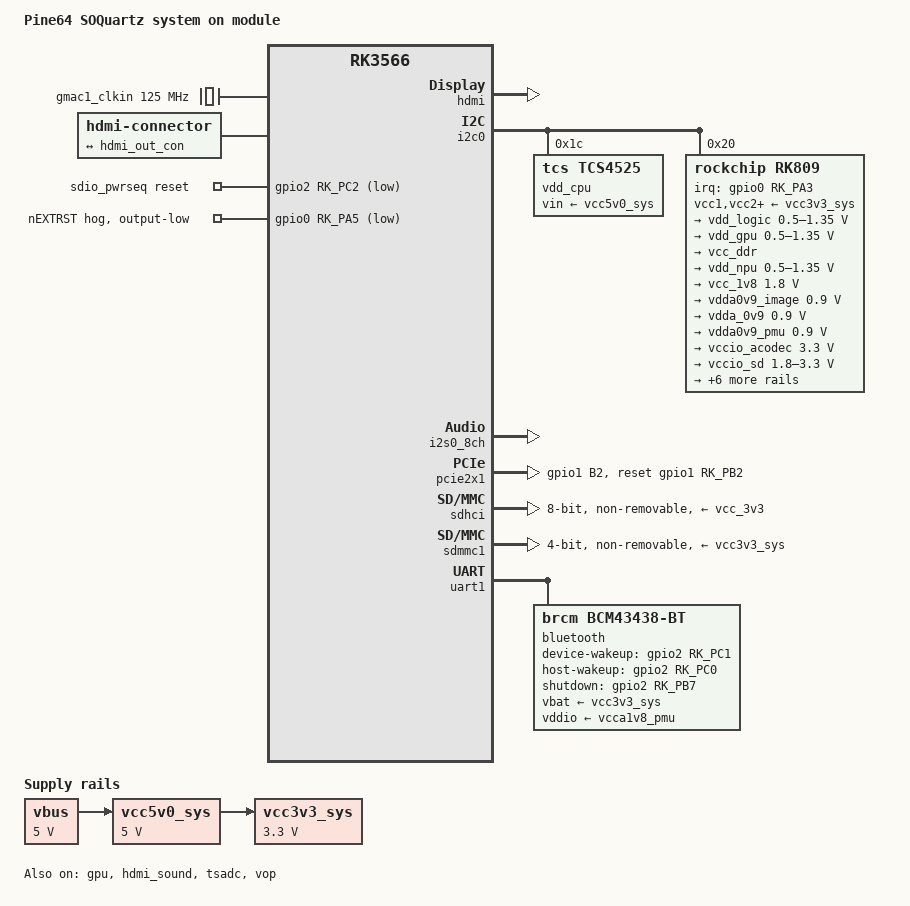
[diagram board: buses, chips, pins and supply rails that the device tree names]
// SPDX-License-Identifier: (GPL-2.0+ OR MIT)

/dts-v1/;

#include <dt-bindings/gpio/gpio.h>
#include <dt-bindings/pinctrl/rockchip.h>
#include <dt-bindings/soc/rockchip,vop2.h>
#include "rk3566.dtsi"

/ {
	model = "Pine64 SOQuartz system on module";
	compatible = "pine64,soquartz", "rockchip,rk3566";

	aliases {
		mmc0 = &sdmmc0;
		mmc1 = &sdhci;
		mmc2 = &sdmmc1;
	};

	chosen: chosen {
		stdout-path = "serial2:1500000n8";
	};

	gmac1_clkin: external-gmac1-clock {
		compatible = "fixed-clock";
		clock-frequency = <125000000>;
		clock-output-names = "gmac1_clkin";
		#clock-cells = <0>;
	};

	hdmi-con {
		compatible = "hdmi-connector";
		type = "a";

		port {
			hdmi_con_in: endpoint {
				remote-endpoint = <&hdmi_out_con>;
			};
		};
	};

	leds {
		compatible = "gpio-leds";

		led_diy: led-diy {
			label = "diy-led";
			default-state = "on";
			gpios = <&gpio0 RK_PC1 GPIO_ACTIVE_LOW>;
			linux,default-trigger = "heartbeat";
			pinctrl-names = "default";
			pinctrl-0 = <&diy_led_enable_h>;
			retain-state-suspended;
			status = "disabled";
		};

		led_work: led-work {
			label = "work-led";
			default-state = "off";
			gpios = <&gpio0 RK_PC0 GPIO_ACTIVE_LOW>;
			pinctrl-names = "default";
			pinctrl-0 = <&work_led_enable_h>;
			retain-state-suspended;
			status = "disabled";
		};
	};

	sdio_pwrseq: sdio-pwrseq {
		status = "okay";
		compatible = "mmc-pwrseq-simple";
		clocks = <&rk809 1>;
		clock-names = "ext_clock";
		pinctrl-names = "default";
		pinctrl-0 = <&wifi_enable_h>;
		reset-gpios = <&gpio2 RK_PC2 GPIO_ACTIVE_LOW>;
	};

	vbus: regulator-vbus {
		compatible = "regulator-fixed";
		regulator-name = "vbus";
		regulator-always-on;
		regulator-boot-on;
		regulator-min-microvolt = <5000000>;
		regulator-max-microvolt = <5000000>;
	};

	/* sourced from vbus, vbus is provided by the carrier board */
	vcc5v0_sys: regulator-vcc5v0-sys {
		compatible = "regulator-fixed";
		regulator-name = "vcc5v0_sys";
		regulator-always-on;
		regulator-boot-on;
		regulator-min-microvolt = <5000000>;
		regulator-max-microvolt = <5000000>;
		vin-supply = <&vbus>;
	};

	vcc3v3_sys: regulator-vcc3v3-sys {
		compatible = "regulator-fixed";
		regulator-name = "vcc3v3_sys";
		regulator-always-on;
		regulator-boot-on;
		regulator-min-microvolt = <3300000>;
		regulator-max-microvolt = <3300000>;
		vin-supply = <&vcc5v0_sys>;
	};
};

&cpu0 {
	cpu-supply = <&vdd_cpu>;
};

&cpu1 {
	cpu-supply = <&vdd_cpu>;
};

&cpu2 {
	cpu-supply = <&vdd_cpu>;
};

&cpu3 {
	cpu-supply = <&vdd_cpu>;
};

&gmac1 {
	assigned-clocks = <&cru SCLK_GMAC1_RX_TX>, <&cru SCLK_GMAC1_RGMII_SPEED>, <&cru SCLK_GMAC1>;
	assigned-clock-parents = <&cru SCLK_GMAC1_RGMII_SPEED>, <&cru SCLK_GMAC1>, <&gmac1_clkin>;
	clock_in_out = "input";
	phy-supply = <&vcc_3v3>;
	phy-mode = "rgmii";
	pinctrl-names = "default";
	pinctrl-0 = <&gmac1m0_miim
		     &gmac1m0_tx_bus2
		     &gmac1m0_rx_bus2
		     &gmac1m0_rgmii_clk
		     &gmac1m0_clkinout
		     &gmac1m0_rgmii_bus>;
	snps,reset-gpio = <&gpio0 RK_PC3 GPIO_ACTIVE_LOW>;
	snps,reset-active-low;
	/* Reset time is 20ms, 100ms for rtl8211f, also works well here */
	snps,reset-delays-us = <0 20000 100000>;
	tx_delay = <0x30>;
	rx_delay = <0x10>;
	phy-handle = <&rgmii_phy1>;
	status = "disabled";
};

&gpio0 {
	nextrst-hog {
		gpio-hog;
		/*
		 * GPIO_ACTIVE_LOW + output-low here means that the pin is set
		 * to high, because output-low decides the value pre-inversion.
		 */
		gpios = <RK_PA5 GPIO_ACTIVE_LOW>;
		line-name = "nEXTRST";
		output-low;
	};
};

&gpu {
	mali-supply = <&vdd_gpu>;
	status = "okay";
};

&hdmi {
	avdd-0v9-supply = <&vdda0v9_image>;
	avdd-1v8-supply = <&vcca1v8_image>;
	status = "okay";
};

&hdmi_in {
	hdmi_in_vp0: endpoint {
		remote-endpoint = <&vp0_out_hdmi>;
	};
};

&hdmi_out {
	hdmi_out_con: endpoint {
		remote-endpoint = <&hdmi_con_in>;
	};
};

&hdmi_sound {
	status = "okay";
};

&i2c0 {
	status = "okay";

	vdd_cpu: regulator@1c {
		compatible = "tcs,tcs4525";
		reg = <0x1c>;
		fcs,suspend-voltage-selector = <1>;
		regulator-name = "vdd_cpu";
		regulator-min-microvolt = <800000>;
		regulator-max-microvolt = <1150000>;
		regulator-ramp-delay = <2300>;
		regulator-always-on;
		regulator-boot-on;
		vin-supply = <&vcc5v0_sys>;

		regulator-state-mem {
			regulator-off-in-suspend;
		};
	};

	rk809: pmic@20 {
		compatible = "rockchip,rk809";
		reg = <0x20>;
		interrupt-parent = <&gpio0>;
		interrupts = <RK_PA3 IRQ_TYPE_LEVEL_LOW>;
		#clock-cells = <1>;
		clock-output-names = "rk808-clkout1", "rk808-clkout2";
		pinctrl-names = "default";
		pinctrl-0 = <&pmic_int_l>;
		system-power-controller;
		wakeup-source;

		vcc1-supply = <&vcc3v3_sys>;
		vcc2-supply = <&vcc3v3_sys>;
		vcc3-supply = <&vcc3v3_sys>;
		vcc4-supply = <&vcc3v3_sys>;
		vcc5-supply = <&vcc3v3_sys>;
		vcc6-supply = <&vcc3v3_sys>;
		vcc7-supply = <&vcc3v3_sys>;
		vcc8-supply = <&vcc3v3_sys>;
		vcc9-supply = <&vcc3v3_sys>;

		regulators {
			vdd_logic: DCDC_REG1 {
				regulator-name = "vdd_logic";
				regulator-always-on;
				regulator-boot-on;
				regulator-min-microvolt = <500000>;
				regulator-max-microvolt = <1350000>;
				regulator-ramp-delay = <6001>;
				regulator-initial-mode = <0x2>;
				regulator-state-mem {
					regulator-on-in-suspend;
					regulator-suspend-microvolt = <900000>;
				};
			};

			vdd_gpu: DCDC_REG2 {
				regulator-name = "vdd_gpu";
				regulator-always-on;
				regulator-boot-on;
				regulator-min-microvolt = <500000>;
				regulator-max-microvolt = <1350000>;
				regulator-ramp-delay = <6001>;
				regulator-initial-mode = <0x2>;
					regulator-state-mem {
					regulator-off-in-suspend;
				};
			};

			vcc_ddr: DCDC_REG3 {
				regulator-always-on;
				regulator-boot-on;
				regulator-initial-mode = <0x2>;
				regulator-name = "vcc_ddr";
				regulator-state-mem {
					regulator-on-in-suspend;
				};
			};

			vdd_npu: DCDC_REG4 {
				regulator-always-on;
				regulator-boot-on;
				regulator-min-microvolt = <500000>;
				regulator-max-microvolt = <1350000>;
				regulator-initial-mode = <0x2>;
				regulator-name = "vdd_npu";
				regulator-state-mem {
					regulator-off-in-suspend;
				};
			};

			vcc_1v8: DCDC_REG5 {
				regulator-name = "vcc_1v8";
				regulator-always-on;
				regulator-boot-on;
				regulator-min-microvolt = <1800000>;
				regulator-max-microvolt = <1800000>;
				regulator-state-mem {
					regulator-on-in-suspend;
					regulator-suspend-microvolt = <1800000>;
				};
			};

			vdda0v9_image: LDO_REG1 {
				regulator-always-on;
				regulator-boot-on;
				regulator-min-microvolt = <900000>;
				regulator-max-microvolt = <900000>;
				regulator-name = "vdda0v9_image";
				regulator-state-mem {
					regulator-on-in-suspend;
					regulator-suspend-microvolt = <900000>;
				};
			};

			vdda_0v9: LDO_REG2 {
				regulator-always-on;
				regulator-boot-on;
				regulator-min-microvolt = <900000>;
				regulator-max-microvolt = <900000>;
				regulator-name = "vdda_0v9";
				regulator-state-mem {
					regulator-off-in-suspend;
				};
			};

			vdda0v9_pmu: LDO_REG3 {
				regulator-always-on;
				regulator-boot-on;
				regulator-min-microvolt = <900000>;
				regulator-max-microvolt = <900000>;
				regulator-name = "vdda0v9_pmu";
				regulator-state-mem {
					regulator-on-in-suspend;
					regulator-suspend-microvolt = <900000>;
				};
			};

			vccio_acodec: LDO_REG4 {
				regulator-always-on;
				regulator-boot-on;
				regulator-min-microvolt = <3300000>;
				regulator-max-microvolt = <3300000>;
				regulator-name = "vccio_acodec";
				regulator-state-mem {
					regulator-off-in-suspend;
				};
			};

			vccio_sd: LDO_REG5 {
				regulator-always-on;
				regulator-boot-on;
				regulator-min-microvolt = <1800000>;
				regulator-max-microvolt = <3300000>;
				regulator-name = "vccio_sd";
				regulator-state-mem {
					regulator-off-in-suspend;
				};
			};

			vcc3v3_pmu: LDO_REG6 {
				regulator-always-on;
				regulator-boot-on;
				regulator-min-microvolt = <3300000>;
				regulator-max-microvolt = <3300000>;
				regulator-name = "vcc3v3_pmu";
				regulator-state-mem {
					regulator-on-in-suspend;
					regulator-suspend-microvolt = <3300000>;
				};
			};

			vcca_1v8: LDO_REG7 {
				regulator-always-on;
				regulator-boot-on;
				regulator-min-microvolt = <1800000>;
				regulator-max-microvolt = <1800000>;
				regulator-name = "vcca_1v8";
				regulator-state-mem {
					regulator-off-in-suspend;
				};
			};

			vcca1v8_pmu: LDO_REG8 {
				regulator-always-on;
				regulator-boot-on;
				regulator-min-microvolt = <1800000>;
				regulator-max-microvolt = <1800000>;
				regulator-name = "vcca1v8_pmu";
				regulator-state-mem {
					regulator-off-in-suspend;
				};
			};

			vcca1v8_image: LDO_REG9 {
				regulator-always-on;
				regulator-boot-on;
				regulator-min-microvolt = <1800000>;
				regulator-max-microvolt = <1800000>;
				regulator-name = "vcca1v8_image";
				regulator-state-mem {
					regulator-off-in-suspend;
				};
			};

			vcc_3v3: SWITCH_REG1 {
				regulator-name = "vcc_3v3";
				regulator-state-mem {
					regulator-off-in-suspend;
				};
			};

			vcc3v3_sd: SWITCH_REG2 {
				regulator-name = "vcc3v3_sd";
				status = "disabled";
				regulator-state-mem {
					regulator-on-in-suspend;
				};
			};

		};
	};
};

/*
 * i2c1 is exposed on CM1 / Module1A
 * pin 80 - i2c1_scl_m0, pullup to vcc3v3_pmu
 * pin 82 - i2c1_sda_m0, pullup to vcc3v3_pmu
 */
&i2c1 {
	status = "disabled";
};

/*
 * i2c2 is exposed on CM1 / Module1A
 * pin 56 - i2c2_scl_m1, pullup to vcc_3v3, shared with i2s1_8ch
 * pin 58 - i2c2_sda_m1, pullup to vcc_3v3
 */
&i2c2 {
	pinctrl-names = "default";
	pinctrl-0 = <&i2c2m1_xfer>;
	status = "disabled";
};

/*
 * i2c3 is exposed on CM1 / Module1A
 * pin 35 - i2c3_scl_m0, pullup to vcc_3v3
 * pin 36 - i2c3_sda_m0, pullup to vcc_3v3
 */
&i2c3 {
	status = "disabled";
};

/*
 * i2c4 is exposed on CM2 / Module1B
 * pin 45 - i2c4_scl_m1
 * pin 47 - i2c4_sda_m1
 */
&i2c4 {
	pinctrl-names = "default";
	pinctrl-0 = <&i2c4m1_xfer>;
	status = "disabled";
};

&i2s0_8ch {
	status = "okay";
};

/*
 * i2s1_8ch is exposed on CM1 / Module1A
 * pin 24 - i2s1_sdi1_m1
 * pin 25 - i2s1_sdo0_m1
 * pin 26 - i2s1_lrck_tx_m1
 * pin 27 - i2s1_sdi0_m1
 * pin 29 - i2s1_sdi3_m1
 * pin 30 - i2s1_sdi2_m1
 * pin 40 - i2s1_sdo1_m1, shared with spi3
 * pin 41 - i2s1_sdo2_m1
 * pin 49 - i2s1_sclk_tx_m1
 * pin 50 - i2s1_mclk_m1
 * pin 56 - i2s1_sdo3_m1, shared with i2c2
 */
&i2s1_8ch {
	pinctrl-names = "default";
	pinctrl-0 = <&i2s1m1_sclktx &i2s1m1_sclkrx
		     &i2s1m1_lrcktx &i2s1m1_lrckrx
		     &i2s1m1_sdi0   &i2s1m1_sdi1
		     &i2s1m1_sdi2   &i2s1m1_sdi3
		     &i2s1m1_sdo0   &i2s1m1_sdo1
		     &i2s1m1_sdo2   &i2s1m1_sdo3>;
	status = "disabled";
};

&mdio1 {
	rgmii_phy1: ethernet-phy@0 {
		compatible = "ethernet-phy-ieee802.3-c22";
		reg = <0>;
		status = "disabled";
	};
};

&pcie2x1 {
	pinctrl-names = "default";
	pinctrl-0 = <&pcie_reset_h>;
	reset-gpios = <&gpio1 RK_PB2 GPIO_ACTIVE_HIGH>;
};

&pinctrl {
	bt {
		bt_enable_h: bt-enable-h {
			rockchip,pins = <2 RK_PB7 RK_FUNC_GPIO &pcfg_pull_none>;
		};

		bt_host_wake_l: bt-host-wake-l {
			rockchip,pins = <2 RK_PC0 RK_FUNC_GPIO &pcfg_pull_down>;
		};

		bt_wake_l: bt-wake-l {
			rockchip,pins = <2 RK_PC1 RK_FUNC_GPIO &pcfg_pull_none>;
		};
	};

	leds {
		work_led_enable_h: work-led-enable-h {
			rockchip,pins = <0 RK_PC0 RK_FUNC_GPIO &pcfg_pull_none>;
		};

		diy_led_enable_h: diy-led-enable-h {
			rockchip,pins = <0 RK_PC1 RK_FUNC_GPIO &pcfg_pull_none>;
		};
	};

	pcie {
		pcie_clkreq_h: pcie-clkreq-h {
			rockchip,pins = <1 RK_PB0 RK_FUNC_GPIO &pcfg_pull_none>;
		};
		pcie_reset_h: pcie-reset-h {
			rockchip,pins = <1 RK_PB2 RK_FUNC_GPIO &pcfg_pull_none>;
		};
	};

	pmic {
		pmic_int_l: pmic-int-l {
			rockchip,pins = <0 RK_PA3 RK_FUNC_GPIO &pcfg_pull_up>;
		};
	};

	sdio-pwrseq {
		wifi_enable_h: wifi-enable-h {
			rockchip,pins = <2 RK_PC2 RK_FUNC_GPIO &pcfg_pull_none>;
		};
	};
};

&pmu_io_domains {
	pmuio1-supply = <&vcc3v3_pmu>;
	pmuio2-supply = <&vcc3v3_pmu>;
	vccio1-supply = <&vcc_3v3>;
	vccio2-supply = <&vcc_1v8>;
	vccio3-supply = <&vccio_sd>;
	vccio4-supply = <&vcc_1v8>;
	vccio5-supply = <&vcc_3v3>;
	vccio6-supply = <&vcc_3v3>;
	vccio7-supply = <&vcc_3v3>;
	status = "okay";
};

/*
 * saradc is exposed on CM1 / Module1A
 * pin 94 - saradc_vin3
 * pin 96 - saradc_vin2
 */
&saradc {
	vref-supply = <&vcca_1v8>;
	status = "disabled";
};

&sdhci {
	bus-width = <8>;
	mmc-hs200-1_8v;
	non-removable;
	vmmc-supply = <&vcc_3v3>;
	vqmmc-supply = <&vcc_1v8>;
	status = "okay";
};

&sdmmc0 {
	broken-cd;
	bus-width = <4>;
	cap-sd-highspeed;
	disable-wp;
	pinctrl-names = "default";
	pinctrl-0 = <&sdmmc0_bus4 &sdmmc0_clk &sdmmc0_cmd &sdmmc0_det>;
	vqmmc-supply = <&vccio_sd>;
	status = "disabled";
};

&sdmmc1 {
	bus-width = <4>;
	cap-sd-highspeed;
	cap-sdio-irq;
	keep-power-in-suspend;
	mmc-pwrseq = <&sdio_pwrseq>;
	non-removable;
	pinctrl-names = "default";
	pinctrl-0 = <&sdmmc1_bus4 &sdmmc1_cmd &sdmmc1_clk>;
	sd-uhs-sdr50;
	vmmc-supply = <&vcc3v3_sys>;
	vqmmc-supply = <&vcc_1v8>;
	status = "okay";
};

/*
 * spi3 is exposed on CM1 / Module1A
 * pin 37 - spi3_cs1_m0
 * pin 38 - spi3_clk_m0
 * pin 39 - spi3_cs0_m0
 * pin 40 - spi3_miso_m0, shared with i2s1_8ch
 * pin 44 - spi3_mosi_m0
 */
&spi3 {
	status = "disabled";
};

&tsadc {
	status = "okay";
};

&uart1 {
	dma-names = "tx", "rx";
	pinctrl-names = "default";
	pinctrl-0 = <&uart1m0_xfer &uart1m0_ctsn &uart1m0_rtsn>;
	uart-has-rtscts;
	status = "okay";

	bluetooth {
		compatible = "brcm,bcm43438-bt";
		clocks = <&rk809 1>;
		clock-names = "lpo";
		device-wakeup-gpios = <&gpio2 RK_PC1 GPIO_ACTIVE_HIGH>;
		host-wakeup-gpios = <&gpio2 RK_PC0 GPIO_ACTIVE_HIGH>;
		shutdown-gpios = <&gpio2 RK_PB7 GPIO_ACTIVE_HIGH>;
		pinctrl-names = "default";
		pinctrl-0 = <&bt_host_wake_l &bt_wake_l &bt_enable_h>;
		vbat-supply = <&vcc3v3_sys>;
		vddio-supply = <&vcca1v8_pmu>;
	};
};

/*
 * uart2 is exposed on CM1 / Module1A
 * pin 51 - uart2_rx_m0
 * pin 55 - uart2_tx_m0
 */
&uart2 {
	status = "disabled";
};

/*
 * uart7 is exposed on CM1 / Module1A
 * pin 46 - uart7_tx_m2
 * pin 47 - uart7_rx_m2
 */
&uart7 {
	pinctrl-names = "default";
	pinctrl-0 = <&uart7m2_xfer>;
	status = "disabled";
};

/* dwc3_otg is the only usb port available */
&usb2phy0 {
	status = "disabled";
};

&usb2phy0_otg {
	status = "disabled";
};

&usb_host0_xhci {
	status = "disabled";
};

&vop {
	assigned-clocks = <&cru DCLK_VOP0>, <&cru DCLK_VOP1>;
	assigned-clock-parents = <&pmucru PLL_HPLL>, <&cru PLL_VPLL>;
	status = "okay";
};

&vop_mmu {
	status = "okay";
};

&vp0 {
	vp0_out_hdmi: endpoint@ROCKCHIP_VOP2_EP_HDMI0 {
		reg = <ROCKCHIP_VOP2_EP_HDMI0>;
		remote-endpoint = <&hdmi_in_vp0>;
	};
};
